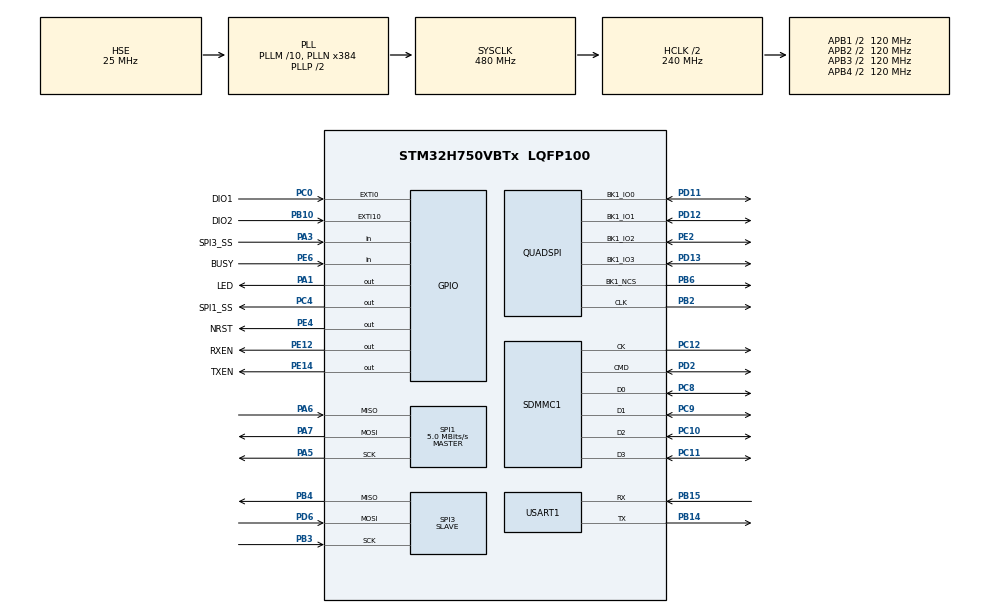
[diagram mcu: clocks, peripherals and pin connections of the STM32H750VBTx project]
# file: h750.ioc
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CRC.InputDataInversionMode=CRC_INPUTDATA_INVERSION_BYTE
CRC.OutputDataInversionMode=CRC_OUTPUTDATA_INVERSION_ENABLE
Dma.Request0=SPI3_RX
Dma.Request1=SPI3_TX
Dma.SPI3_RX.0.Direction=DMA_PERIPH_TO_MEMORY
Dma.SPI3_RX.0.EventEnable=DISABLE
Dma.SPI3_RX.0.FIFOMode=DMA_FIFOMODE_DISABLE
Dma.SPI3_RX.0.Instance=DMA1_Stream0
Dma.SPI3_RX.0.MemDataAlignment=DMA_MDATAALIGN_BYTE
Dma.SPI3_RX.0.MemInc=DMA_MINC_ENABLE
Dma.SPI3_RX.0.Mode=DMA_CIRCULAR
Dma.SPI3_RX.0.PeriphDataAlignment=DMA_PDATAALIGN_BYTE
Dma.SPI3_RX.0.PeriphInc=DMA_PINC_DISABLE
Dma.SPI3_RX.0.Polarity=HAL_DMAMUX_REQ_GEN_RISING
Dma.SPI3_RX.0.Priority=DMA_PRIORITY_LOW
Dma.SPI3_RX.0.RequestNumber=1
Dma.SPI3_RX.0.SignalID=NONE
Dma.SPI3_RX.0.SyncEnable=DISABLE
Dma.SPI3_RX.0.SyncPolarity=HAL_DMAMUX_SYNC_NO_EVENT
Dma.SPI3_RX.0.SyncRequestNumber=1
Dma.SPI3_RX.0.SyncSignalID=NONE
Dma.SPI3_TX.1.Direction=DMA_MEMORY_TO_PERIPH
Dma.SPI3_TX.1.EventEnable=DISABLE
Dma.SPI3_TX.1.FIFOMode=DMA_FIFOMODE_DISABLE
Dma.SPI3_TX.1.Instance=DMA1_Stream1
Dma.SPI3_TX.1.MemDataAlignment=DMA_MDATAALIGN_BYTE
Dma.SPI3_TX.1.MemInc=DMA_MINC_ENABLE
Dma.SPI3_TX.1.Mode=DMA_NORMAL
Dma.SPI3_TX.1.PeriphDataAlignment=DMA_PDATAALIGN_BYTE
Dma.SPI3_TX.1.PeriphInc=DMA_PINC_DISABLE
Dma.SPI3_TX.1.Polarity=HAL_DMAMUX_REQ_GEN_RISING
Dma.SPI3_TX.1.Priority=DMA_PRIORITY_LOW
Dma.SPI3_TX.1.RequestNumber=1
Dma.SPI3_TX.1.SignalID=NONE
Dma.SPI3_TX.1.SyncEnable=DISABLE
Dma.SPI3_TX.1.SyncPolarity=HAL_DMAMUX_SYNC_NO_EVENT
Dma.SPI3_TX.1.SyncRequestNumber=1
Dma.SPI3_TX.1.SyncSignalID=NONE
FREERTOS.Tasks01=defaultTask,-1,128,StartDefaultTask,Default,NULL,Dynamic,NULL,NULL;myTask02,0,1024,StartTask02,Default,NULL,Dynamic,NULL,NULL;myTask03,-3,512,StartTask03,Default,NULL,Dynamic,NULL,NULL
Mcu.Family=STM32H7
Mcu.Name=STM32H750VBTx
Mcu.Package=LQFP100
NVIC.DMA1_Stream0_IRQn=true\:5\:0\:false\:false\:true\:true\:false\:true
NVIC.DMA1_Stream1_IRQn=true\:5\:0\:false\:false\:true\:true\:false\:true
NVIC.EXTI0_IRQn=true\:5\:0\:false\:false\:true\:true\:true\:true
NVIC.EXTI15_10_IRQn=true\:5\:0\:false\:false\:true\:true\:true\:true
NVIC.PriorityGroup=NVIC_PRIORITYGROUP_4
NVIC.SPI3_IRQn=true\:5\:0\:false\:false\:true\:true\:false\:true
NVIC.TIM5_IRQn=true\:5\:0\:false\:false\:true\:true\:true\:true
NVIC.TIM6_DAC_IRQn=true\:0\:0\:false\:false\:true\:false\:false\:true
NVIC.TimeBase=TIM6_DAC_IRQn
NVIC.TimeBaseIP=TIM6
PA1.GPIO_Label=LED
PA1.Signal=GPIO_Output
PA13\ (JTMS/SWDIO).Mode=Serial_Wire
PA13\ (JTMS/SWDIO).Signal=DEBUG_JTMS-SWDIO
PA14\ (JTCK/SWCLK).Mode=Serial_Wire
PA14\ (JTCK/SWCLK).Signal=DEBUG_JTCK-SWCLK
PA3.GPIO_Label=SPI3_SS
PA3.Signal=GPIO_Input
PA5.GPIO_PuPd=GPIO_NOPULL
PA5.Mode=Full_Duplex_Master
PA5.Signal=SPI1_SCK
PA6.Mode=Full_Duplex_Master
PA6.Signal=SPI1_MISO
PA7.GPIO_PuPd=GPIO_NOPULL
PA7.Mode=Full_Duplex_Master
PA7.Signal=SPI1_MOSI
PB10.GPIO_Label=DIO2 
PB10.Signal=GPXTI10
PB14.Mode=Asynchronous
PB14.Signal=USART1_TX
PB15.Mode=Asynchronous
PB15.Signal=USART1_RX
PB2.Mode=Single Bank 1
PB2.Signal=QUADSPI_CLK
PB3\ (JTDO/TRACESWO).Mode=Full_Duplex_Slave
PB3\ (JTDO/TRACESWO).Signal=SPI3_SCK
PB4\ (NJTRST).Mode=Full_Duplex_Slave
PB4\ (NJTRST).Signal=SPI3_MISO
PB6.Mode=Single Bank 1
PB6.Signal=QUADSPI_BK1_NCS
PC0.GPIO_Label=DIO1
PC0.Signal=GPXTI0
PC10.Mode=SD_4_bits_Wide_bus
PC10.Signal=SDMMC1_D2
PC11.Mode=SD_4_bits_Wide_bus
PC11.Signal=SDMMC1_D3
PC12.Mode=SD_4_bits_Wide_bus
PC12.Signal=SDMMC1_CK
PC14-OSC32_IN\ (OSC32_IN).Mode=LSE-External-Oscillator
PC14-OSC32_IN\ (OSC32_IN).Signal=RCC_OSC32_IN
PC15-OSC32_OUT\ (OSC32_OUT).Mode=LSE-External-Oscillator
PC15-OSC32_OUT\ (OSC32_OUT).Signal=RCC_OSC32_OUT
PC4.GPIO_Label=SPI1_SS
PC4.GPIO_Speed=GPIO_SPEED_FREQ_VERY_HIGH
PC4.PinState=GPIO_PIN_SET
PC4.Signal=GPIO_Output
PC8.Mode=SD_4_bits_Wide_bus
PC8.Signal=SDMMC1_D0
PC9.Mode=SD_4_bits_Wide_bus
PC9.Signal=SDMMC1_D1
PD11.Mode=Single Bank 1
PD11.Signal=QUADSPI_BK1_IO0
PD12.Mode=Single Bank 1
PD12.Signal=QUADSPI_BK1_IO1
PD13.Mode=Single Bank 1
PD13.Signal=QUADSPI_BK1_IO3
PD2.Mode=SD_4_bits_Wide_bus
PD2.Signal=SDMMC1_CMD
PD6.Mode=Full_Duplex_Slave
PD6.Signal=SPI3_MOSI
PE12.GPIO_Label=RXEN
PE12.Signal=GPIO_Output
PE14.GPIO_Label=TXEN
PE14.Signal=GPIO_Output
PE2.Mode=Single Bank 1
PE2.Signal=QUADSPI_BK1_IO2
PE4.GPIO_Label=NRST
PE4.Signal=GPIO_Output
PE6.GPIO_Label=BUSY
PE6.Signal=GPIO_Input
PH0-OSC_IN\ (PH0).Mode=HSE-External-Oscillator
PH0-OSC_IN\ (PH0).Signal=RCC_OSC_IN
PH1-OSC_OUT\ (PH1).Mode=HSE-External-Oscillator
PH1-OSC_OUT\ (PH1).Signal=RCC_OSC_OUT
ProjectManager.HeapSize=0x200
ProjectManager.StackSize=0x400
ProjectManager.TargetToolchain=STM32CubeIDE
RCC.ADCFreq_Value=160000000
RCC.APB1Freq_Value=120000000
RCC.APB2Freq_Value=120000000
RCC.APB3Freq_Value=120000000
RCC.APB4Freq_Value=120000000
RCC.CKPERSourceSelection=RCC_CLKPSOURCE_HSE
RCC.CortexFreq_Value=480000000
RCC.D1PPRE=RCC_APB3_DIV2
RCC.D2PPRE1=RCC_APB1_DIV2
RCC.D2PPRE2=RCC_APB2_DIV2
RCC.D3PPRE=RCC_APB4_DIV2
RCC.DIVM1=10
RCC.DIVM2=25
RCC.DIVM3=25
RCC.DIVN1=384
RCC.DIVN2=320
RCC.DIVN3=192
RCC.DIVQ2=16
RCC.DIVQ3=4
RCC.DIVR1=3
RCC.DIVR2=4
RCC.HCLKFreq_Value=240000000
RCC.HPRE=RCC_HCLK_DIV2
RCC.PLLSourceVirtual=RCC_PLLSOURCE_HSE
RCC.QSPICLockSelection=RCC_QSPICLKSOURCE_PLL
RCC.RTCClockSelection=RCC_RTCCLKSOURCE_LSE
RCC.SPI123CLockSelection=RCC_SPI123CLKSOURCE_PLL2
RCC.SYSCLKFreq_VALUE=480000000
RCC.SYSCLKSource=RCC_SYSCLKSOURCE_PLLCLK
RCC.USART16CLockSelection=RCC_USART16CLKSOURCE_PLL3
RCC.USBFreq_Value=480000000
SPI1.BaudRatePrescaler=SPI_BAUDRATEPRESCALER_32
SPI1.CalculateBaudRate=5.0 MBits/s
SPI1.DataSize=SPI_DATASIZE_8BIT
SPI1.Direction=SPI_DIRECTION_2LINES
SPI1.Mode=SPI_MODE_MASTER
SPI1.VirtualType=VM_MASTER
SPI3.DataSize=SPI_DATASIZE_8BIT
SPI3.Direction=SPI_DIRECTION_2LINES
SPI3.Mode=SPI_MODE_SLAVE
SPI3.VirtualType=VM_SLAVE
TIM5.AutoReloadPreload=TIM_AUTORELOAD_PRELOAD_DISABLE
TIM5.Period=0
TIM5.Prescaler=0
TIM5.TIM_MasterOutputTrigger=TIM_TRGO_RESET
USART1.VirtualMode-Asynchronous=VM_ASYNC
VP_CRC_VS_CRC.Mode=CRC_Activate
VP_FREERTOS_VS_CMSIS_V1.Mode=CMSIS_V1
VP_SYS_VS_tim6.Mode=TIM6
VP_TIM5_VS_ClockSourceINT.Mode=Internal
board=custom

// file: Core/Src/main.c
/* USER CODE BEGIN Header */
/**
  ******************************************************************************
  * @file           : main.c
  * @brief          : Main program body
  ******************************************************************************
  * @attention
  *
  * <h2><center>&copy; Copyright (c) 2020 STMicroelectronics.
  * All rights reserved.</center></h2>
  *
  * This software component is licensed by ST under BSD 3-Clause license,
  * the "License"; You may not use this file except in compliance with the
  * License. You may obtain a copy of the License at:
  *                        opensource.org/licenses/BSD-3-Clause
  *
  ******************************************************************************
  */
/* USER CODE END Header */

#include "main.h"
#include "cmsis_os.h"

/* USER CODE BEGIN Includes */

#include "stdio.h"
#include "SPI_SX.h"

/* USER CODE END Includes */

CRC_HandleTypeDef hcrc;

QSPI_HandleTypeDef hqspi;

SD_HandleTypeDef hsd1;

SPI_HandleTypeDef hspi1;
SPI_HandleTypeDef hspi3;
DMA_HandleTypeDef hdma_spi3_rx;
DMA_HandleTypeDef hdma_spi3_tx;

TIM_HandleTypeDef htim5;

UART_HandleTypeDef huart1;

osThreadId defaultTaskHandle;
osThreadId myTask02Handle;
osThreadId myTask03Handle;

void SystemClock_Config(void);
static void MX_GPIO_Init(void);
static void MX_DMA_Init(void);
static void MX_CRC_Init(void);
static void MX_QUADSPI_Init(void);
static void MX_USART1_UART_Init(void);
static void MX_SDMMC1_SD_Init(void);
static void MX_SPI3_Init(void);
static void MX_SPI1_Init(void);
static void MX_TIM5_Init(void);
void StartDefaultTask(void const * argument);
void StartTask02(void const * argument);
void StartTask03(void const * argument);

/* USER CODE BEGIN 0 */

QueueHandle_t xQBufferPointer, xQTransmissonRequest;

/* USER CODE END 0 */

int main(void)
{

  /* MCU Configuration--------------------------------------------------------*/

  /* Reset of all peripherals, Initializes the Flash interface and the Systick. */
  HAL_Init();

  /* Configure the system clock */
  SystemClock_Config();

  /* Initialize all configured peripherals */
  MX_GPIO_Init();
  MX_DMA_Init();
  MX_CRC_Init();
  MX_QUADSPI_Init();
  MX_USART1_UART_Init();
  MX_SDMMC1_SD_Init();
  MX_SPI3_Init();
  MX_SPI1_Init();
  MX_TIM5_Init();

  /* Create the thread(s) */
  /* definition and creation of defaultTask */
  osThreadDef(defaultTask, StartDefaultTask, osPriorityBelowNormal, 0, 128);
  defaultTaskHandle = osThreadCreate(osThread(defaultTask), NULL);

  /* definition and creation of myTask02 */
  osThreadDef(myTask02, StartTask02, osPriorityNormal, 0, 1024);
  myTask02Handle = osThreadCreate(osThread(myTask02), NULL);

  /* definition and creation of myTask03 */
  osThreadDef(myTask03, StartTask03, osPriorityIdle, 0, 512);
  myTask03Handle = osThreadCreate(osThread(myTask03), NULL);

  /* Start scheduler */
  osKernelStart();

  /* We should never get here as control is now taken by the scheduler */
  /* Infinite loop */
  while (1)
  {

  }
}

void SystemClock_Config(void)
{
  RCC_OscInitTypeDef RCC_OscInitStruct = {0};
  RCC_ClkInitTypeDef RCC_ClkInitStruct = {0};
  RCC_PeriphCLKInitTypeDef PeriphClkInitStruct = {0};

  /** Supply configuration update enable
  */
  HAL_PWREx_ConfigSupply(PWR_LDO_SUPPLY);
  /** Configure the main internal regulator output voltage
  */
  __HAL_PWR_VOLTAGESCALING_CONFIG(PWR_REGULATOR_VOLTAGE_SCALE0);

  while(!__HAL_PWR_GET_FLAG(PWR_FLAG_VOSRDY)) {}
  /** Macro to configure the PLL clock source
  */
  __HAL_RCC_PLL_PLLSOURCE_CONFIG(RCC_PLLSOURCE_HSE);
  /** Initializes the CPU, AHB and APB busses clocks
  */
  RCC_OscInitStruct.OscillatorType = RCC_OSCILLATORTYPE_HSE;
  RCC_OscInitStruct.HSEState = RCC_HSE_ON;
  RCC_OscInitStruct.PLL.PLLState = RCC_PLL_ON;
  RCC_OscInitStruct.PLL.PLLSource = RCC_PLLSOURCE_HSE;
  RCC_OscInitStruct.PLL.PLLM = 10;
  RCC_OscInitStruct.PLL.PLLN = 384;
  RCC_OscInitStruct.PLL.PLLP = 2;
  RCC_OscInitStruct.PLL.PLLQ = 2;
  RCC_OscInitStruct.PLL.PLLR = 3;
  RCC_OscInitStruct.PLL.PLLRGE = RCC_PLL1VCIRANGE_1;
  RCC_OscInitStruct.PLL.PLLVCOSEL = RCC_PLL1VCOWIDE;
  RCC_OscInitStruct.PLL.PLLFRACN = 0;
  if (HAL_RCC_OscConfig(&RCC_OscInitStruct) != HAL_OK)
  {
    Error_Handler();
  }
  /** Initializes the CPU, AHB and APB busses clocks
  */
  RCC_ClkInitStruct.ClockType = RCC_CLOCKTYPE_HCLK|RCC_CLOCKTYPE_SYSCLK
                              |RCC_CLOCKTYPE_PCLK1|RCC_CLOCKTYPE_PCLK2
                              |RCC_CLOCKTYPE_D3PCLK1|RCC_CLOCKTYPE_D1PCLK1;
  RCC_ClkInitStruct.SYSCLKSource = RCC_SYSCLKSOURCE_PLLCLK;
  RCC_ClkInitStruct.SYSCLKDivider = RCC_SYSCLK_DIV1;
  RCC_ClkInitStruct.AHBCLKDivider = RCC_HCLK_DIV2;
  RCC_ClkInitStruct.APB3CLKDivider = RCC_APB3_DIV2;
  RCC_ClkInitStruct.APB1CLKDivider = RCC_APB1_DIV2;
  RCC_ClkInitStruct.APB2CLKDivider = RCC_APB2_DIV2;
  RCC_ClkInitStruct.APB4CLKDivider = RCC_APB4_DIV2;

  if (HAL_RCC_ClockConfig(&RCC_ClkInitStruct, FLASH_LATENCY_4) != HAL_OK)
  {
    Error_Handler();
  }
  PeriphClkInitStruct.PeriphClockSelection = RCC_PERIPHCLK_USART1|RCC_PERIPHCLK_SPI3
                              |RCC_PERIPHCLK_SPI1|RCC_PERIPHCLK_SDMMC
                              |RCC_PERIPHCLK_QSPI;
  PeriphClkInitStruct.PLL2.PLL2M = 25;
  PeriphClkInitStruct.PLL2.PLL2N = 320;
  PeriphClkInitStruct.PLL2.PLL2P = 2;
  PeriphClkInitStruct.PLL2.PLL2Q = 16;
  PeriphClkInitStruct.PLL2.PLL2R = 4;
  PeriphClkInitStruct.PLL2.PLL2RGE = RCC_PLL2VCIRANGE_0;
  PeriphClkInitStruct.PLL2.PLL2VCOSEL = RCC_PLL2VCOWIDE;
  PeriphClkInitStruct.PLL2.PLL2FRACN = 0;
  PeriphClkInitStruct.PLL3.PLL3M = 25;
  PeriphClkInitStruct.PLL3.PLL3N = 192;
  PeriphClkInitStruct.PLL3.PLL3P = 2;
  PeriphClkInitStruct.PLL3.PLL3Q = 4;
  PeriphClkInitStruct.PLL3.PLL3R = 2;
  PeriphClkInitStruct.PLL3.PLL3RGE = RCC_PLL3VCIRANGE_0;
  PeriphClkInitStruct.PLL3.PLL3VCOSEL = RCC_PLL3VCOWIDE;
  PeriphClkInitStruct.PLL3.PLL3FRACN = 0;
  PeriphClkInitStruct.QspiClockSelection = RCC_QSPICLKSOURCE_PLL;
  PeriphClkInitStruct.SdmmcClockSelection = RCC_SDMMCCLKSOURCE_PLL;
  PeriphClkInitStruct.Spi123ClockSelection = RCC_SPI123CLKSOURCE_PLL2;
  PeriphClkInitStruct.Usart16ClockSelection = RCC_USART16CLKSOURCE_PLL3;
  if (HAL_RCCEx_PeriphCLKConfig(&PeriphClkInitStruct) != HAL_OK)
  {
    Error_Handler();
  }
}

static void MX_CRC_Init(void)
{

  /* USER CODE BEGIN CRC_Init 1 */

  hcrc.Init.CRCLength = CRC_POLYLENGTH_32B;

  /* USER CODE END CRC_Init 1 */
  hcrc.Instance = CRC;
  hcrc.Init.DefaultPolynomialUse = DEFAULT_POLYNOMIAL_ENABLE;
  hcrc.Init.DefaultInitValueUse = DEFAULT_INIT_VALUE_ENABLE;
  hcrc.Init.InputDataInversionMode = CRC_INPUTDATA_INVERSION_BYTE;
  hcrc.Init.OutputDataInversionMode = CRC_OUTPUTDATA_INVERSION_ENABLE;
  hcrc.InputDataFormat = CRC_INPUTDATA_FORMAT_BYTES;
  if (HAL_CRC_Init(&hcrc) != HAL_OK)
  {
    Error_Handler();
  }

}

static void MX_QUADSPI_Init(void)
{

  /* QUADSPI parameter configuration*/
  hqspi.Instance = QUADSPI;
  hqspi.Init.ClockPrescaler = 255;
  hqspi.Init.FifoThreshold = 1;
  hqspi.Init.SampleShifting = QSPI_SAMPLE_SHIFTING_NONE;
  hqspi.Init.FlashSize = 1;
  hqspi.Init.ChipSelectHighTime = QSPI_CS_HIGH_TIME_1_CYCLE;
  hqspi.Init.ClockMode = QSPI_CLOCK_MODE_0;
  hqspi.Init.FlashID = QSPI_FLASH_ID_1;
  hqspi.Init.DualFlash = QSPI_DUALFLASH_DISABLE;
  if (HAL_QSPI_Init(&hqspi) != HAL_OK)
  {
    Error_Handler();
  }

}

static void MX_SDMMC1_SD_Init(void)
{

  hsd1.Instance = SDMMC1;
  hsd1.Init.ClockEdge = SDMMC_CLOCK_EDGE_RISING;
  hsd1.Init.ClockPowerSave = SDMMC_CLOCK_POWER_SAVE_DISABLE;
  hsd1.Init.BusWide = SDMMC_BUS_WIDE_4B;
  hsd1.Init.HardwareFlowControl = SDMMC_HARDWARE_FLOW_CONTROL_DISABLE;
  hsd1.Init.ClockDiv = 0;
  hsd1.Init.TranceiverPresent = SDMMC_TRANSCEIVER_NOT_PRESENT;
  if (HAL_SD_Init(&hsd1) != HAL_OK)
  {
    Error_Handler();
  }

}

static void MX_SPI1_Init(void)
{

  /* SPI1 parameter configuration*/
  hspi1.Instance = SPI1;
  hspi1.Init.Mode = SPI_MODE_MASTER;
  hspi1.Init.Direction = SPI_DIRECTION_2LINES;
  hspi1.Init.DataSize = SPI_DATASIZE_8BIT;
  hspi1.Init.CLKPolarity = SPI_POLARITY_LOW;
  hspi1.Init.CLKPhase = SPI_PHASE_1EDGE;
  hspi1.Init.NSS = SPI_NSS_SOFT;
  hspi1.Init.BaudRatePrescaler = SPI_BAUDRATEPRESCALER_32;
  hspi1.Init.FirstBit = SPI_FIRSTBIT_MSB;
  hspi1.Init.TIMode = SPI_TIMODE_DISABLE;
  hspi1.Init.CRCCalculation = SPI_CRCCALCULATION_DISABLE;
  hspi1.Init.CRCPolynomial = 0x0;
  hspi1.Init.NSSPMode = SPI_NSS_PULSE_ENABLE;
  hspi1.Init.NSSPolarity = SPI_NSS_POLARITY_LOW;
  hspi1.Init.FifoThreshold = SPI_FIFO_THRESHOLD_01DATA;
  hspi1.Init.TxCRCInitializationPattern = SPI_CRC_INITIALIZATION_ALL_ZERO_PATTERN;
  hspi1.Init.RxCRCInitializationPattern = SPI_CRC_INITIALIZATION_ALL_ZERO_PATTERN;
  hspi1.Init.MasterSSIdleness = SPI_MASTER_SS_IDLENESS_00CYCLE;
  hspi1.Init.MasterInterDataIdleness = SPI_MASTER_INTERDATA_IDLENESS_00CYCLE;
  hspi1.Init.MasterReceiverAutoSusp = SPI_MASTER_RX_AUTOSUSP_DISABLE;
  hspi1.Init.MasterKeepIOState = SPI_MASTER_KEEP_IO_STATE_DISABLE;
  hspi1.Init.IOSwap = SPI_IO_SWAP_DISABLE;
  if (HAL_SPI_Init(&hspi1) != HAL_OK)
  {
    Error_Handler();
  }

}

static void MX_SPI3_Init(void)
{

  /* SPI3 parameter configuration*/
  hspi3.Instance = SPI3;
  hspi3.Init.Mode = SPI_MODE_SLAVE;
  hspi3.Init.Direction = SPI_DIRECTION_2LINES;
  hspi3.Init.DataSize = SPI_DATASIZE_8BIT;
  hspi3.Init.CLKPolarity = SPI_POLARITY_LOW;
  hspi3.Init.CLKPhase = SPI_PHASE_1EDGE;
  hspi3.Init.NSS = SPI_NSS_SOFT;
  hspi3.Init.FirstBit = SPI_FIRSTBIT_MSB;
  hspi3.Init.TIMode = SPI_TIMODE_DISABLE;
  hspi3.Init.CRCCalculation = SPI_CRCCALCULATION_DISABLE;
  hspi3.Init.CRCPolynomial = 0x0;
  hspi3.Init.NSSPMode = SPI_NSS_PULSE_DISABLE;
  hspi3.Init.NSSPolarity = SPI_NSS_POLARITY_LOW;
  hspi3.Init.FifoThreshold = SPI_FIFO_THRESHOLD_01DATA;
  hspi3.Init.TxCRCInitializationPattern = SPI_CRC_INITIALIZATION_ALL_ZERO_PATTERN;
  hspi3.Init.RxCRCInitializationPattern = SPI_CRC_INITIALIZATION_ALL_ZERO_PATTERN;
  hspi3.Init.MasterSSIdleness = SPI_MASTER_SS_IDLENESS_00CYCLE;
  hspi3.Init.MasterInterDataIdleness = SPI_MASTER_INTERDATA_IDLENESS_00CYCLE;
  hspi3.Init.MasterReceiverAutoSusp = SPI_MASTER_RX_AUTOSUSP_DISABLE;
  hspi3.Init.MasterKeepIOState = SPI_MASTER_KEEP_IO_STATE_DISABLE;
  hspi3.Init.IOSwap = SPI_IO_SWAP_DISABLE;
  if (HAL_SPI_Init(&hspi3) != HAL_OK)
  {
    Error_Handler();
  }

}

static void MX_TIM5_Init(void)
{

  TIM_ClockConfigTypeDef sClockSourceConfig = {0};
  TIM_MasterConfigTypeDef sMasterConfig = {0};

  htim5.Instance = TIM5;
  htim5.Init.Prescaler = 0;
  htim5.Init.CounterMode = TIM_COUNTERMODE_UP;
  htim5.Init.Period = 0;
  htim5.Init.ClockDivision = TIM_CLOCKDIVISION_DIV1;
  htim5.Init.AutoReloadPreload = TIM_AUTORELOAD_PRELOAD_DISABLE;
  if (HAL_TIM_Base_Init(&htim5) != HAL_OK)
  {
    Error_Handler();
  }
  sClockSourceConfig.ClockSource = TIM_CLOCKSOURCE_INTERNAL;
  if (HAL_TIM_ConfigClockSource(&htim5, &sClockSourceConfig) != HAL_OK)
  {
    Error_Handler();
  }
  sMasterConfig.MasterOutputTrigger = TIM_TRGO_RESET;
  sMasterConfig.MasterSlaveMode = TIM_MASTERSLAVEMODE_DISABLE;
  if (HAL_TIMEx_MasterConfigSynchronization(&htim5, &sMasterConfig) != HAL_OK)
  {
    Error_Handler();
  }
  /* USER CODE BEGIN TIM5_Init 2 */

  TIM5->SR = 0;

  /* USER CODE END TIM5_Init 2 */

}

static void MX_USART1_UART_Init(void)
{

  huart1.Instance = USART1;
  huart1.Init.BaudRate = 115200;
  huart1.Init.WordLength = UART_WORDLENGTH_8B;
  huart1.Init.StopBits = UART_STOPBITS_1;
  huart1.Init.Parity = UART_PARITY_NONE;
  huart1.Init.Mode = UART_MODE_TX_RX;
  huart1.Init.HwFlowCtl = UART_HWCONTROL_NONE;
  huart1.Init.OverSampling = UART_OVERSAMPLING_16;
  huart1.Init.OneBitSampling = UART_ONE_BIT_SAMPLE_DISABLE;
  huart1.Init.ClockPrescaler = UART_PRESCALER_DIV1;
  huart1.AdvancedInit.AdvFeatureInit = UART_ADVFEATURE_NO_INIT;
  if (HAL_UART_Init(&huart1) != HAL_OK)
  {
    Error_Handler();
  }
  if (HAL_UARTEx_SetTxFifoThreshold(&huart1, UART_TXFIFO_THRESHOLD_1_8) != HAL_OK)
  {
    Error_Handler();
  }
  if (HAL_UARTEx_SetRxFifoThreshold(&huart1, UART_RXFIFO_THRESHOLD_1_8) != HAL_OK)
  {
    Error_Handler();
  }
  if (HAL_UARTEx_DisableFifoMode(&huart1) != HAL_OK)
  {
    Error_Handler();
  }

}

static void MX_DMA_Init(void)
{

  /* DMA controller clock enable */
  __HAL_RCC_DMA1_CLK_ENABLE();

  /* DMA interrupt init */
  /* DMA1_Stream0_IRQn interrupt configuration */
  HAL_NVIC_SetPriority(DMA1_Stream0_IRQn, 5, 0);
  HAL_NVIC_EnableIRQ(DMA1_Stream0_IRQn);
  /* DMA1_Stream1_IRQn interrupt configuration */
  HAL_NVIC_SetPriority(DMA1_Stream1_IRQn, 5, 0);
  HAL_NVIC_EnableIRQ(DMA1_Stream1_IRQn);

}

static void MX_GPIO_Init(void)
{
  GPIO_InitTypeDef GPIO_InitStruct = {0};

  /* GPIO Ports Clock Enable */
  __HAL_RCC_GPIOE_CLK_ENABLE();
  __HAL_RCC_GPIOC_CLK_ENABLE();
  __HAL_RCC_GPIOH_CLK_ENABLE();
  __HAL_RCC_GPIOA_CLK_ENABLE();
  __HAL_RCC_GPIOB_CLK_ENABLE();
  __HAL_RCC_GPIOD_CLK_ENABLE();

  /*Configure GPIO pin Output Level */
  HAL_GPIO_WritePin(GPIOE, NRST_Pin|RXEN_Pin|TXEN_Pin, GPIO_PIN_RESET);

  /*Configure GPIO pin Output Level */
  HAL_GPIO_WritePin(LED_GPIO_Port, LED_Pin, GPIO_PIN_RESET);

  /*Configure GPIO pin Output Level */
  HAL_GPIO_WritePin(SPI1_SS_GPIO_Port, SPI1_SS_Pin, GPIO_PIN_SET);

  /*Configure GPIO pins : NRST_Pin RXEN_Pin TXEN_Pin */
  GPIO_InitStruct.Pin = NRST_Pin|RXEN_Pin|TXEN_Pin;
  GPIO_InitStruct.Mode = GPIO_MODE_OUTPUT_PP;
  GPIO_InitStruct.Pull = GPIO_NOPULL;
  GPIO_InitStruct.Speed = GPIO_SPEED_FREQ_LOW;
  HAL_GPIO_Init(GPIOE, &GPIO_InitStruct);

  /*Configure GPIO pin : BUSY_Pin */
  GPIO_InitStruct.Pin = BUSY_Pin;
  GPIO_InitStruct.Mode = GPIO_MODE_INPUT;
  GPIO_InitStruct.Pull = GPIO_NOPULL;
  HAL_GPIO_Init(BUSY_GPIO_Port, &GPIO_InitStruct);

  /*Configure GPIO pin : DIO1_Pin */
  GPIO_InitStruct.Pin = DIO1_Pin;
  GPIO_InitStruct.Mode = GPIO_MODE_IT_RISING;
  GPIO_InitStruct.Pull = GPIO_NOPULL;
  HAL_GPIO_Init(DIO1_GPIO_Port, &GPIO_InitStruct);

  /*Configure GPIO pin : LED_Pin */
  GPIO_InitStruct.Pin = LED_Pin;
  GPIO_InitStruct.Mode = GPIO_MODE_OUTPUT_PP;
  GPIO_InitStruct.Pull = GPIO_NOPULL;
  GPIO_InitStruct.Speed = GPIO_SPEED_FREQ_LOW;
  HAL_GPIO_Init(LED_GPIO_Port, &GPIO_InitStruct);

  /*Configure GPIO pin : SPI3_SS_Pin */
  GPIO_InitStruct.Pin = SPI3_SS_Pin;
  GPIO_InitStruct.Mode = GPIO_MODE_INPUT;
  GPIO_InitStruct.Pull = GPIO_NOPULL;
  HAL_GPIO_Init(SPI3_SS_GPIO_Port, &GPIO_InitStruct);

  /*Configure GPIO pin : SPI1_SS_Pin */
  GPIO_InitStruct.Pin = SPI1_SS_Pin;
  GPIO_InitStruct.Mode = GPIO_MODE_OUTPUT_PP;
  GPIO_InitStruct.Pull = GPIO_NOPULL;
  GPIO_InitStruct.Speed = GPIO_SPEED_FREQ_VERY_HIGH;
  HAL_GPIO_Init(SPI1_SS_GPIO_Port, &GPIO_InitStruct);

  /*Configure GPIO pin : DIO2_Pin */
  GPIO_InitStruct.Pin = DIO2_Pin;
  GPIO_InitStruct.Mode = GPIO_MODE_IT_RISING;
  GPIO_InitStruct.Pull = GPIO_NOPULL;
  HAL_GPIO_Init(DIO2_GPIO_Port, &GPIO_InitStruct);

  /* EXTI interrupt init*/
  HAL_NVIC_SetPriority(EXTI0_IRQn, 5, 0);
  HAL_NVIC_EnableIRQ(EXTI0_IRQn);

  HAL_NVIC_SetPriority(EXTI15_10_IRQn, 5, 0);
  HAL_NVIC_EnableIRQ(EXTI15_10_IRQn);

}

/* USER CODE BEGIN 4 */

_Bool flag = 0;

void HAL_SPI_RxCpltCallback (SPI_HandleTypeDef * hspi)
{
	flag = 1;
}

/* USER CODE END 4 */

void StartDefaultTask(void const * argument)
{
  /* USER CODE BEGIN 5 */
//	TIM5->DIER = 0x01;
//	TIM5->PSC = 0x04;
//	TIM5->ARR = 0x1E;
//	GPIOA->BSRR = 0x040000;

  /* Infinite loop */
  for(;;)
  {
//	  TIM5->CNT = 0x00;
//	  GPIOA->BSRR = 0x00000002;
//	  osDelay(10);
//	  GPIOA->BSRR = 0x00020000;
//	  TIM5->CR1 = 0x01;
//	  osDelay(10);
//	  GPIOA->BSRR = 0x040000;

	  GPIOA->BSRR = 0x00000002;
	  osDelay(400);
	  GPIOA->BSRR = 0x00020000;
	  osDelay(400);

  }
  /* USER CODE END 5 */
}

void StartTask02(void const * argument)
{
  /* USER CODE BEGIN StartTask02 */

	uint8_t *raw_pkt = NULL;
	uint16_t id, len;
	uint32_t crc_val, crc_pkt;
	uint8_t msg[] = "SPN";
	uint16_t erros = 0;

	uint8_t TxRequestCode = 0x0F;

	xQBufferPointer = xQueueCreate(1, sizeof(uint8_t*));
	xQTransmissonRequest = xQueueCreate(1, sizeof(uint8_t));

	raw_pkt = pvPortMalloc(sizeof(uint8_t) * 2056);

	xQueueSend(xQBufferPointer, &raw_pkt, (TickType_t) 10);

	// o endereço do vetor raw_pkt deve ser enviado pra task de envio

	HAL_SPI_Receive_DMA(&hspi3, raw_pkt, 2056);

	osDelay(3000);

	HAL_UART_Transmit(&huart1, &msg[0], 1, HAL_MAX_DELAY);

  /* Infinite loop */
  for(;;)
  {

	  while(flag != 1)	{ osDelay(1); }
	  flag = 0;

	  id = (raw_pkt[0] << 8) | raw_pkt[1];
	  len = (raw_pkt[2] << 8) | raw_pkt[3];
	  crc_pkt = (raw_pkt[len+4] << 24) | (raw_pkt[len+5] << 16) | (raw_pkt[len+6] << 8) | (raw_pkt[len+7]);

	  crc_val = HAL_CRC_Calculate(&hcrc, &raw_pkt[0], len + 4);
	  crc_val = crc_val ^ 0xFFFFFFFF;

	  if(crc_pkt == crc_val)
	  {

		 // informa que uma mensagem do tipo foto está pronta para ser enviada
		 // suspende a tarefa, ela volta a ser liberada quando o envio terminar

		  xQueueSend(xQTransmissonRequest, (void*)&TxRequestCode, (TickType_t) 10);

		  vTaskResume(myTask03Handle);
		  vTaskSuspend(myTask02Handle);

		  HAL_UART_Transmit(&huart1, &msg[2], 1, HAL_MAX_DELAY);
	  }
	  else
	  {
		  HAL_UART_Transmit(&huart1, &msg[1], 1, HAL_MAX_DELAY);
		  erros++;
	  }

	osDelay(1);

	}
  /* USER CODE END StartTask02 */
}

void StartTask03(void const * argument)
{
  /* USER CODE BEGIN StartTask03 */
  /* Infinite loop */

	TIM5->DIER = 0x01;		// Update interrupt enable
	TIM5->PSC = 0x04;		// Clock prescaler			APB1_Timer_clock/2
	TIM5->ARR = 0x3C;		// Auto-reload register

	uint16_t id, id0, len;
	uint8_t TxRequest;

	HAL_GPIO_WritePin(TXEN_GPIO_Port, TXEN_Pin, GPIO_PIN_SET);
//	HAL_GPIO_WritePin(RXEN_GPIO_Port, RXEN_Pin, GPIO_PIN_RESET);
	HAL_GPIO_WritePin(NRST_GPIO_Port, NRST_Pin, GPIO_PIN_SET);

	uint8_t rsp[10];

	uint8_t msg[] = "teste teste 666";
	uint8_t *ptr_msg = NULL, *ptr_buffer = NULL;

	uint8_t SetStandby[2] = {0x80, 0x00};		// RC
	uint8_t SetDIO3AsTCXOCtrl[5] = {0x97, 0x07, 0x00, 0x00, 0x32};
	uint8_t CalibrateImage[3] = {0x98, 0xE1, 0xE9};
	uint8_t ClearDeviceErrors[3] = {0x07, 0, 0};
	uint8_t GetDeviceErrors[4] = {0x17, 0, 0, 0};
	uint8_t SetPacketType[2] = {0x8A, 0x01};
	uint8_t SetFrequency[5] = {0x86, 0x39, 0x30, 0x00, 0x00};
	uint8_t SetPaConfig[5] = {0x95, 0x02, 0x02, 0x00, 0x01};
	uint8_t SetTxParam[3] = {0x8E, 0x0E, 0x03};		// 14dBm
	uint8_t SetBufferBaseAddress[3] = {0x8F, 0x00, 0x00};

			// WriteBuffer

			xQueueReceive(xQBufferPointer, &ptr_buffer, (TickType_t) 1000);
			vQueueDelete(xQBufferPointer);

			// a queue descarrega aqui, ptr_msg vai ter até 256 bytes + 2, o registrador payload lenght tbm precisa ser ajustado
			/*
			 * 			ptr_msg = pvPortMalloc(258)
			 *
			 * 			total_pkt = len/256     normalmente vao ser 8
			 *
			 * 			tamanho do pacotinho = 256
			 *
			 * 			for(int i = 0; i < total_pkt; i++)
			 *
			 * 				if(i == total_pkt)
			 * 					tamanho do pacotinho = len - 256*i
			 *
			 * 				for(int j = 0; j < tamanho do pacotinho; j++)
			 * 					*(ptr_msg + offset) = raw_pkt[j + 256*i]
			 *
			 * 				preenche o registrador de tamanho do payload com o tamanho do pacotinho
			 * 				carrega a mensagem no registrador
			 * 				coloca no modo TX
			 * 				aguarda a interrupção e solicita novo envio
			 */

			ptr_msg = pvPortMalloc(sizeof(uint8_t) * 258);
			*ptr_msg = 0x0E;
			*(ptr_msg + 1) = 0x00;						// offset
//			for(int i = 0; i < sizeof(msg); i++)
//			{
//				*(ptr_msg + i + 2) = msg[i];
//			}

	uint8_t SetModulationParams[9] = {0x8B, 0x05, 0x06, 0x01, 0x00, 0, 0, 0, 0};
	uint8_t SetPacketParam[10] = {0x8C, 0x00, 0x08, 0x00, 0xFF, 0x01, 0x00, 0, 0, 0};
	uint8_t Workaround1[5] = {0x1D, 0x08, 0x89, 0, 0};
	uint8_t Workaround2[5] = {0x1D, 0x08, 0xD8, 0, 0};
	uint8_t SetDioIrqParams[9] = {0x08, 0x00, 0x01, 0x00, 0x01, 0x00, 0x00, 0x00, 0x00};
	uint8_t SyncWord[5] = {0x0D, 0x07, 0x40, 0x47, 0x76};
	uint8_t SetTx[4] = {0x83, 0x00, 0x00, 0x00};

	uint8_t GetIrqStatus[4] = {0x12, 0, 0, 0};
	uint8_t ClearIrqStatus[3] = {0x2, 0x00, 0x01};

	osDelay(100);

	opcodeTx(SetStandby, 2);
	//----------------------------------
	opcodeTx(ClearDeviceErrors, 3);
	opcodeTx(SetDIO3AsTCXOCtrl, 5);
	opcodeTx(CalibrateImage, 3);
	opcodeTx(GetDeviceErrors, 4);
	// criar mecanismo para tratar possivel erro
	//----------------------------------
	opcodeTx(SetPacketType, 2);
	opcodeTx(SetFrequency, 5);
	opcodeTx(SetPaConfig, 5);
	opcodeTx(SetTxParam, 3);
	opcodeTx(SetBufferBaseAddress, 3);

	opcodeTx(SetModulationParams, 9);
	if(SetPacketType[1] == 0x01) {				// LoRa
		if(SetModulationParams[2] == 0x06)		// BW = 500 KHz
		{
			opcodeTxRx(Workaround1, rsp, 5);		// read register
			rsp[1] = 0x0D; rsp[2] = 0x08; rsp[3] = 0x89; rsp[4] = rsp[4] & 0xFB;
			opcodeTx(&rsp[1], 4);				// write register
		}
	}
	else {
		opcodeTxRx(Workaround1, rsp, 5);			// read register
		rsp[1] = 0x0D; rsp[2] = 0x08; rsp[3] = 0x89; rsp[4] = rsp[4] | 0x04;
		opcodeTx(&rsp[1], 4);					// write register
	}
	opcodeTx(SetPacketParam, 10);
	opcodeTxRx(Workaround2, rsp, 5);
	rsp[1] = 0x0D; rsp[2] = 0x08; rsp[3] = 0xD8; rsp[4] = rsp[4] | 0x1E;
	opcodeTx(&rsp[1], 4);
	opcodeTx(SetDioIrqParams, 9);
	opcodeTx(SyncWord, 5);

	do {
		xQueueReceive(xQTransmissonRequest, &TxRequest, (TickType_t) 1000);
	}while (TxRequest != 0x0F);

	id0 = ( *ptr_buffer << 8) | *(ptr_buffer+1);		// quantos pacotes vão vir, ID do primeiro pacote

	for(int i = 0; i < id0; i++) {

		len = ( *(ptr_buffer+2) << 8) | *(ptr_buffer+3);	// quantos bytes tem nesse pacote, normalmente é 2048

		int len_quo = len / 255;
		int len_rem = len % 255;

		for(int j = 0; j < len_quo; j++) {

			for(int k = 0; k < 255; k++) {
				*(ptr_msg + 2 + k) = *(ptr_buffer + 4 + k + (j*255) );
			}

			opcodeTx(ptr_msg, 258);
			opcodeTx(SetTx, 4);
			vTaskSuspend(myTask03Handle);

			opcodeTxRx(GetIrqStatus, rsp, 4);

			if((rsp[3] & 0x01) == 1)
			{
				// sucess
			} else {
				// fail
			}

			opcodeTx(ClearIrqStatus, 3);

		}

		if(len_rem > 0)
		{
			for(int k = 0; k < len_rem; k++) {
				*(ptr_msg + 2 + k) = *(ptr_buffer + 4 + k + (len_quo*255) );
			}

			SetPacketParam[4] = len_rem;
			opcodeTx(SetPacketParam, 10);
			opcodeTx(ptr_msg, 258);
			opcodeTx(SetTx, 4);
			vTaskSuspend(myTask03Handle);

			opcodeTxRx(GetIrqStatus, rsp, 4);

			if((rsp[3] & 0x01) == 1)
			{
				// sucess
			} else {
				// fail
			}

			opcodeTx(ClearIrqStatus, 3);

		}

		vTaskResume(myTask02Handle);
		vTaskSuspend(myTask03Handle);

	}

//	opcodeTx(SetPacketParam, 10);
//	opcodeTx(ptr_msg, sizeof(msg)+2);
//	opcodeTx(SetTx, 4);
//	vTaskSuspend(myTask03Handle);
//
//	opcodeTxRx(GetIrqStatus, rsp, 4);
//
//	if((rsp[3] & 0x01) == 1)
//	{
//		// sucess
//	} else {
//		// fail
//	}
//
//	opcodeTx(ClearIrqStatus, 3);

	HAL_GPIO_WritePin(TXEN_GPIO_Port, TXEN_Pin, GPIO_PIN_RESET);

  for(;;)
  {
    osDelay(100);
  }
  /* USER CODE END StartTask03 */
}

 /**
  * @brief  Period elapsed callback in non blocking mode
  * @note   This function is called  when TIM6 interrupt took place, inside
  * HAL_TIM_IRQHandler(). It makes a direct call to HAL_IncTick() to increment
  * a global variable "uwTick" used as application time base.
  * @param  htim : TIM handle
  * @retval None
  */
void HAL_TIM_PeriodElapsedCallback(TIM_HandleTypeDef *htim)
{
  if (htim->Instance == TIM6) {
    HAL_IncTick();
  }
}

void Error_Handler(void)
{
}

/************************ (C) COPYRIGHT STMicroelectronics *****END OF FILE****/
